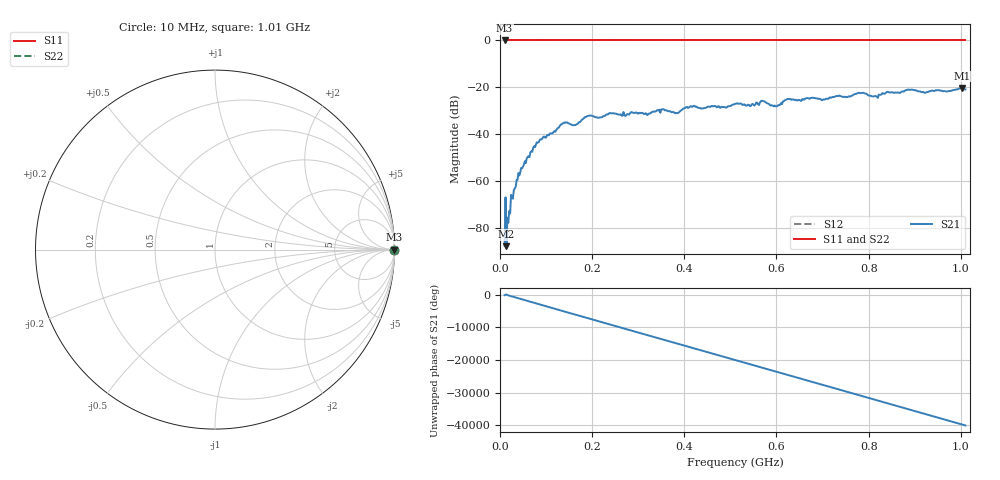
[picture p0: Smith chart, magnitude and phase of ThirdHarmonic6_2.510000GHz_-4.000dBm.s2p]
! 8/17/2025 4:52:14 AM
! C:\ANRITSUVNA\TEMP\TEMP.S2P
! CHANNEL.1
! TR.MEASUREMENT
! RAW.DATA
! RF.CORRECTION.OFF
! AVERAGING.OFF
! IF.BANDWIDTH: 5KHZ
! SWEEPTYPE:  FREQ.SWEEP(Linear)
! Reference Plane Port Info
! PORT:  PORT1  PORT2
! DISTANCE:  0  m  0  m
! TIME:  0  s  0  s
! PHASE.OFFSET:  0  deg.  0  deg.
! LOSS:  0  dB  0  dB
! REF.LOSS:  0  dB  0  dB
! REF.FREQ:  0  Hz  0  Hz
! Power Info
! POWER:  -20  dBm  -20  dBm
! EFF.POWER:  -20  dBm  -20  dBm
! SOURCE.ATTEN:  0  dB  0  dB
! TEST.ATTEN:  0  dB  0  dB
# GHZ S RI R 50.0
! FREQ.GHZ  S11RE  S11IM  S21RE  S21IM  S12RE  S12IM  S22RE  S22IM
!; PortSelection: Port_12
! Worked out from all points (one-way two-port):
!   501 points, 10 MHz to 1.01 GHz, reference 50 ohm
!   highest |S21| = -20.32 dB at 1.002 GHz (marker M1); lowest = -87.9 dB at 14 MHz (marker M2)
!   lowest |S11| = 0.0 dB at 10 MHz (marker M3)
!   |S11| at or under -10 dB: nowhere
!   |S22| runs from 0.0 to 0.0 dB; largest |S21 - S12| = 1.1
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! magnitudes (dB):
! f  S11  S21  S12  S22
! 10 MHz  0.0  -87.7  0.0  0.0
! 14 MHz  0.0  -87.9  0.0  0.0
! 18 MHz  0.0  -77.9  0.0  0.0
! 28 MHz  0.0  -67.6  0.0  0.0
! 42 MHz  0.0  -57.7  0.0  0.0
! 76 MHz  0.0  -45.6  0.0  0.0
! 136 MHz  0.0  -35.4  0.0  0.0
! 162 MHz  0.0  -36.2  0.0  0.0
! 178 MHz  0.0  -33.8  0.0  0.0
! 344 MHz  0.0  -30.0  0.0  0.0
! 384 MHz  0.0  -31.0  0.0  0.0
! 418 MHz  0.0  -28.3  0.0  0.0
! 510 MHz  0.0  -27.1  0.0  0.0
! 570 MHz  0.0  -25.8  0.0  0.0
! 598 MHz  0.0  -28.1  0.0  0.0
! 624 MHz  0.0  -25.0  0.0  0.0
! 678 MHz  0.0  -24.5  0.0  0.0
! 784 MHz  0.0  -22.5  0.0  0.0
! 816 MHz  0.0  -23.8  0.0  0.0
! 844 MHz  0.0  -22.1  0.0  0.0
! 1.002 GHz  0.0  -20.3  0.0  0.0
! 1.01 GHz  0.0  -20.9  0.0  0.0
